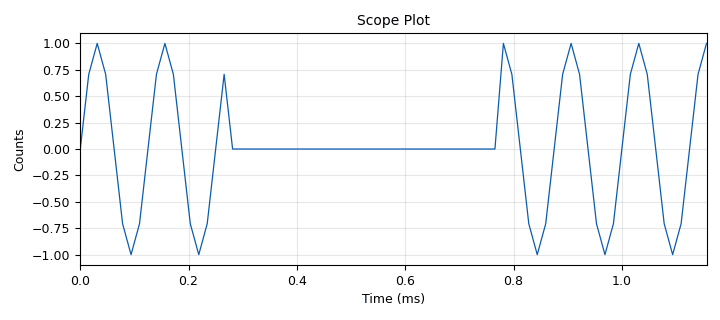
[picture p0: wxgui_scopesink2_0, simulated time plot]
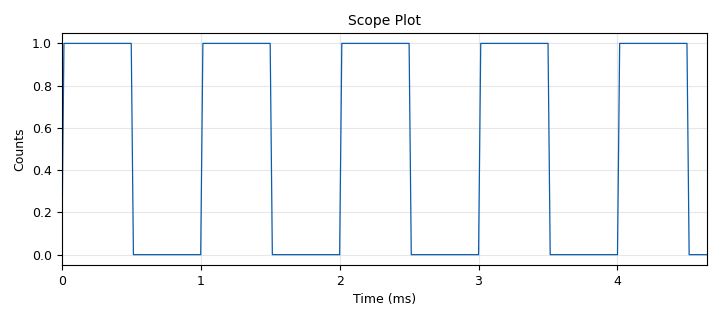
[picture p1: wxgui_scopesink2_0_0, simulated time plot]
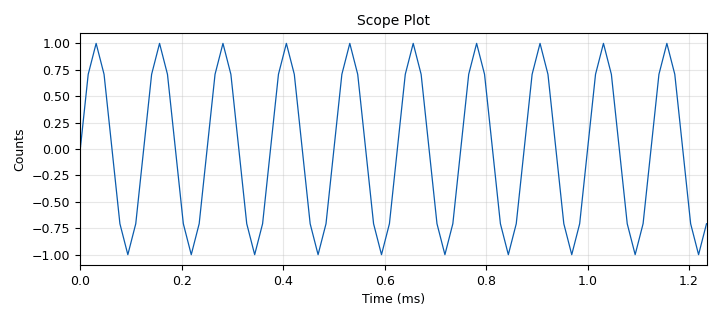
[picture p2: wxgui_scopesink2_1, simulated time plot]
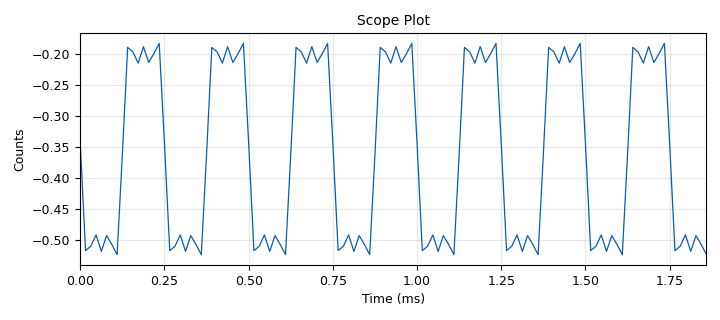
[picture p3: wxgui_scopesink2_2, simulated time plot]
<?xml version='1.0' encoding='utf-8'?>
<?grc format='1' created='3.7.10'?>
<flow_graph>
<block>
<key>options</key>
<param><key>id</key><value>top_block</value></param>
<param><key>generate_options</key><value>wx_gui</value></param>
</block>
<block>
<key>variable</key>
<param><key>id</key><value>samp_rate</value></param>
<param><key>value</key><value>64000</value></param>
</block>
<block>
<key>analog_am_demod_cf</key>
<param><key>id</key><value>analog_am_demod_cf_0</value></param>
<param><key>audio_decim</key><value>4</value></param>
<param><key>audio_pass</key><value>5000</value></param>
<param><key>audio_stop</key><value>5500</value></param>
<param><key>chan_rate</key><value>64e3</value></param>
</block>
<block>
<key>analog_sig_source_x</key>
<param><key>id</key><value>analog_sig_source_x_0</value></param>
<param><key>amp</key><value>1</value></param>
<param><key>freq</key><value>8000</value></param>
<param><key>offset</key><value>0</value></param>
<param><key>type</key><value>float</value></param>
<param><key>samp_rate</key><value>samp_rate</value></param>
<param><key>waveform</key><value>analog.GR_COS_WAVE</value></param>
</block>
<block>
<key>analog_sig_source_x</key>
<param><key>id</key><value>analog_sig_source_x_1</value></param>
<param><key>amp</key><value>1</value></param>
<param><key>freq</key><value>1000</value></param>
<param><key>offset</key><value>0</value></param>
<param><key>type</key><value>float</value></param>
<param><key>samp_rate</key><value>samp_rate</value></param>
<param><key>waveform</key><value>analog.GR_SQR_WAVE</value></param>
</block>
<block>
<key>blocks_float_to_complex</key>
<param><key>id</key><value>blocks_float_to_complex_0</value></param>
</block>
<block>
<key>blocks_multiply_xx</key>
<param><key>id</key><value>blocks_multiply_xx_0</value></param>
<param><key>type</key><value>float</value></param>
</block>
<block>
<key>blocks_throttle</key>
<param><key>id</key><value>blocks_throttle_0</value></param>
<param><key>samples_per_second</key><value>samp_rate</value></param>
<param><key>type</key><value>float</value></param>
</block>
<block>
<key>notebook</key>
<param><key>id</key><value>notebook_0</value></param>
<param><key>labels</key><value>['tab1', 'tab2','tab3','tab4']</value></param>
<param><key>style</key><value>wx.NB_TOP</value></param>
</block>
<block>
<key>wxgui_scopesink2</key>
<param><key>id</key><value>wxgui_scopesink2_0</value></param>
<param><key>ac_couple</key><value>False</value></param>
<param><key>notebook</key><value>notebook_0, 2</value></param>
<param><key>num_inputs</key><value>1</value></param>
<param><key>samp_rate</key><value>samp_rate</value></param>
<param><key>t_scale</key><value>0</value></param>
<param><key>title</key><value>Scope Plot</value></param>
<param><key>trig_mode</key><value>wxgui.TRIG_MODE_AUTO</value></param>
<param><key>type</key><value>float</value></param>
<param><key>v_offset</key><value>0</value></param>
<param><key>v_scale</key><value>0</value></param>
<param><key>xy_mode</key><value>False</value></param>
<param><key>y_axis_label</key><value>Counts</value></param>
</block>
<block>
<key>wxgui_scopesink2</key>
<param><key>id</key><value>wxgui_scopesink2_0_0</value></param>
<param><key>ac_couple</key><value>False</value></param>
<param><key>notebook</key><value>notebook_0,0</value></param>
<param><key>num_inputs</key><value>1</value></param>
<param><key>samp_rate</key><value>samp_rate</value></param>
<param><key>t_scale</key><value>0</value></param>
<param><key>title</key><value>Scope Plot</value></param>
<param><key>trig_mode</key><value>wxgui.TRIG_MODE_AUTO</value></param>
<param><key>type</key><value>float</value></param>
<param><key>v_offset</key><value>0</value></param>
<param><key>v_scale</key><value>0</value></param>
<param><key>xy_mode</key><value>False</value></param>
<param><key>y_axis_label</key><value>Counts</value></param>
</block>
<block>
<key>wxgui_scopesink2</key>
<param><key>id</key><value>wxgui_scopesink2_1</value></param>
<param><key>ac_couple</key><value>False</value></param>
<param><key>notebook</key><value>notebook_0,1</value></param>
<param><key>num_inputs</key><value>1</value></param>
<param><key>samp_rate</key><value>samp_rate</value></param>
<param><key>t_scale</key><value>0</value></param>
<param><key>title</key><value>Scope Plot</value></param>
<param><key>trig_mode</key><value>wxgui.TRIG_MODE_AUTO</value></param>
<param><key>type</key><value>float</value></param>
<param><key>v_offset</key><value>0</value></param>
<param><key>v_scale</key><value>0</value></param>
<param><key>xy_mode</key><value>False</value></param>
<param><key>y_axis_label</key><value>Counts</value></param>
</block>
<block>
<key>wxgui_scopesink2</key>
<param><key>id</key><value>wxgui_scopesink2_2</value></param>
<param><key>ac_couple</key><value>False</value></param>
<param><key>notebook</key><value>notebook_0,3</value></param>
<param><key>num_inputs</key><value>1</value></param>
<param><key>samp_rate</key><value>samp_rate</value></param>
<param><key>t_scale</key><value>0</value></param>
<param><key>title</key><value>Scope Plot</value></param>
<param><key>trig_mode</key><value>wxgui.TRIG_MODE_AUTO</value></param>
<param><key>type</key><value>float</value></param>
<param><key>v_offset</key><value>0</value></param>
<param><key>v_scale</key><value>0</value></param>
<param><key>xy_mode</key><value>False</value></param>
<param><key>y_axis_label</key><value>Counts</value></param>
</block>
<connection><source_block_id>analog_am_demod_cf_0</source_block_id><sink_block_id>wxgui_scopesink2_2</sink_block_id><source_key>0</source_key><sink_key>0</sink_key></connection>
<connection><source_block_id>analog_sig_source_x_0</source_block_id><sink_block_id>blocks_multiply_xx_0</sink_block_id><source_key>0</source_key><sink_key>1</sink_key></connection>
<connection><source_block_id>analog_sig_source_x_0</source_block_id><sink_block_id>wxgui_scopesink2_1</sink_block_id><source_key>0</source_key><sink_key>0</sink_key></connection>
<connection><source_block_id>analog_sig_source_x_1</source_block_id><sink_block_id>blocks_multiply_xx_0</sink_block_id><source_key>0</source_key><sink_key>0</sink_key></connection>
<connection><source_block_id>analog_sig_source_x_1</source_block_id><sink_block_id>wxgui_scopesink2_0_0</sink_block_id><source_key>0</source_key><sink_key>0</sink_key></connection>
<connection><source_block_id>blocks_float_to_complex_0</source_block_id><sink_block_id>analog_am_demod_cf_0</sink_block_id><source_key>0</source_key><sink_key>0</sink_key></connection>
<connection><source_block_id>blocks_multiply_xx_0</source_block_id><sink_block_id>blocks_throttle_0</sink_block_id><source_key>0</source_key><sink_key>0</sink_key></connection>
<connection><source_block_id>blocks_throttle_0</source_block_id><sink_block_id>blocks_float_to_complex_0</sink_block_id><source_key>0</source_key><sink_key>0</sink_key></connection>
<connection><source_block_id>blocks_throttle_0</source_block_id><sink_block_id>wxgui_scopesink2_0</sink_block_id><source_key>0</source_key><sink_key>0</sink_key></connection>
</flow_graph>
